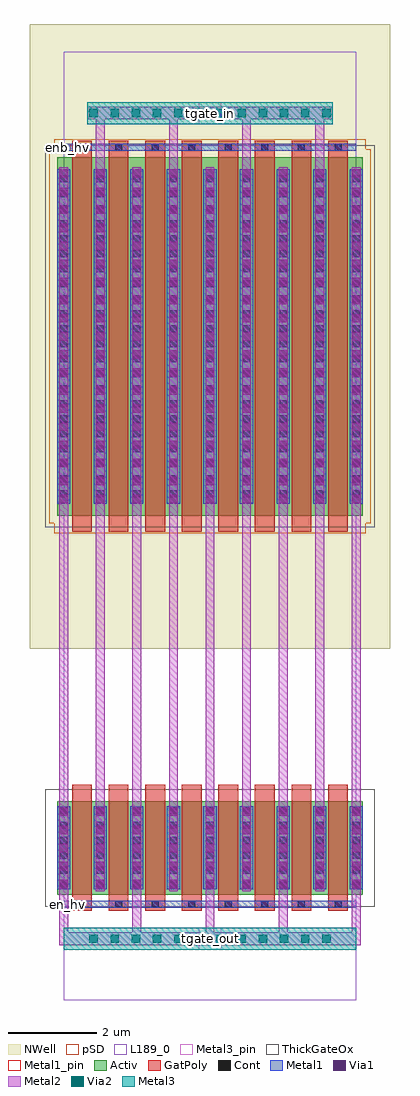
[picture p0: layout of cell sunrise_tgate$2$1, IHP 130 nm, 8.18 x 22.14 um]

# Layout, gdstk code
from math import pi, radians
import gdstk
lib = gdstk.Library(unit=1e-6, precision=1e-09)
def R(c, l, rs):  # rectangles x0, y0, x1, y1
    for r in rs: c.add(gdstk.rectangle(r[:2], r[2:], *l))
def A(c, l, x, y, w, h, nx, ny, dx, dy):  # array of equal rectangles
    R(c, l, [(x+i*dx, y+j*dy, x+i*dx+w, y+j*dy+h) for i in range(nx) for j in range(ny)])
Activ = (1, 0)
GatPoly = (5, 0)
Cont = (6, 0)
Metal1 = (8, 0)
Metal1_pin = (8, 2)
Metal2 = (10, 0)
pSD = (14, 0)
Via1 = (19, 0)
Via2 = (29, 0)
Metal3 = (30, 0)
Metal3_pin = (30, 2)
NWell = (31, 0)
ThickGateOx = (44, 0)
L189_0 = (189, 0)

sg13_hv_pmos_26gvx2_1_2_ = lib.new_cell('sg13_hv_pmos_26GVX2$1$2$1')
R(sg13_hv_pmos_26gvx2_1_2_, Activ, [(-3.47,-4.16,3.47,3.97)])
A(sg13_hv_pmos_26gvx2_1_2_, GatPoly, -3.13, -4.34, 0.45, 8.68, 8, 1, 0.83, 0)
A(sg13_hv_pmos_26gvx2_1_2_, Cont, -3.4, -3.745, 0.16, 0.16, 9, 22, 0.83, 0.34)
A(sg13_hv_pmos_26gvx2_1_2_, Cont, -2.985, 4.11, 0.16, 0.16, 8, 1, 0.83, 0)
A(sg13_hv_pmos_26gvx2_1_2_, Metal1, -3.47, -3.89, 0.3, 7.59, 9, 1, 0.83, 0)
R(sg13_hv_pmos_26gvx2_1_2_, Metal1, [(-3.32,4.11,3.32,4.27)])
A(sg13_hv_pmos_26gvx2_1_2_, Metal2, -3.42, -3.93, 0.2, 7.67, 9, 1, 0.83, 0)
R(sg13_hv_pmos_26gvx2_1_2_, pSD, [(-3.53,-4.56,3.53,-4.34), (-3.65,-4.34,3.65,4.15), (-3.53,4.15,3.53,4.37)])
A(sg13_hv_pmos_26gvx2_1_2_, Via1, -3.415, -3.88, 0.19, 0.19, 9, 19, 0.83, 0.41)
R(sg13_hv_pmos_26gvx2_1_2_, NWell, [(-4.09,-4.78,4.09,4.59)])
R(sg13_hv_pmos_26gvx2_1_2_, ThickGateOx, [(-3.74,-4.43,3.74,4.24)])
sg13_hv_pmos_26gvx2_1_2_.add(gdstk.Label('S7', (2.49,-0.095), layer=8, texttype=25))
sg13_hv_pmos_26gvx2_1_2_.add(gdstk.Label('D6', (1.66,-0.095), layer=8, texttype=25))
sg13_hv_pmos_26gvx2_1_2_.add(gdstk.Label('S5', (0.83,-0.095), layer=8, texttype=25))
sg13_hv_pmos_26gvx2_1_2_.add(gdstk.Label('D4', (0,-0.095), layer=8, texttype=25))
sg13_hv_pmos_26gvx2_1_2_.add(gdstk.Label('S3', (-0.83,-0.095), layer=8, texttype=25))
sg13_hv_pmos_26gvx2_1_2_.add(gdstk.Label('D2', (-1.66,-0.095), layer=8, texttype=25))
sg13_hv_pmos_26gvx2_1_2_.add(gdstk.Label('S1', (-2.49,-0.095), layer=8, texttype=25))
sg13_hv_pmos_26gvx2_1_2_.add(gdstk.Label('G', (-2.905,4.19), layer=8, texttype=25))
sg13_hv_pmos_26gvx2_1_2_.add(gdstk.Label('G', (-2.075,4.19), layer=8, texttype=25))
sg13_hv_pmos_26gvx2_1_2_.add(gdstk.Label('G', (-1.245,4.19), layer=8, texttype=25))
sg13_hv_pmos_26gvx2_1_2_.add(gdstk.Label('G', (-0.415,4.19), layer=8, texttype=25))
sg13_hv_pmos_26gvx2_1_2_.add(gdstk.Label('G', (0.415,4.19), layer=8, texttype=25))
sg13_hv_pmos_26gvx2_1_2_.add(gdstk.Label('G', (1.245,4.19), layer=8, texttype=25))
sg13_hv_pmos_26gvx2_1_2_.add(gdstk.Label('G', (2.075,4.19), layer=8, texttype=25))
sg13_hv_pmos_26gvx2_1_2_.add(gdstk.Label('G', (2.905,4.19), layer=8, texttype=25))
sg13_hv_pmos_26gvx2_1_2_.add(gdstk.Label('D0', (-3.32,-0.095), layer=8, texttype=25))

sg13_hv_nmos_ddl5y6_2_1 = lib.new_cell('sg13_hv_nmos_DDL5Y6$2$1')
R(sg13_hv_nmos_ddl5y6_2_1, Activ, [(-3.47,-0.965,3.47,1.155)])
A(sg13_hv_nmos_ddl5y6_2_1, GatPoly, -3.13, -1.335, 0.45, 2.67, 8, 1, 0.83, 0)
A(sg13_hv_nmos_ddl5y6_2_1, Cont, -2.985, -1.265, 0.16, 0.16, 8, 1, 0.83, 0)
A(sg13_hv_nmos_ddl5y6_2_1, Cont, -3.4, -0.835, 0.16, 0.16, 9, 6, 0.83, 0.34)
A(sg13_hv_nmos_ddl5y6_2_1, Metal1, -3.47, -0.845, 0.3, 1.88, 9, 1, 0.83, 0)
R(sg13_hv_nmos_ddl5y6_2_1, Metal1, [(-3.32,-1.265,3.32,-1.105)])
A(sg13_hv_nmos_ddl5y6_2_1, Metal2, -3.42, -0.885, 0.2, 1.96, 9, 1, 0.83, 0)
A(sg13_hv_nmos_ddl5y6_2_1, Via1, -3.415, -0.82, 0.19, 0.19, 9, 5, 0.83, 0.41)
R(sg13_hv_nmos_ddl5y6_2_1, ThickGateOx, [(-3.74,-1.235,3.74,1.425)])
sg13_hv_nmos_ddl5y6_2_1.add(gdstk.Label('S7', (2.49,0.095), layer=8, texttype=25))
sg13_hv_nmos_ddl5y6_2_1.add(gdstk.Label('D6', (1.66,0.095), layer=8, texttype=25))
sg13_hv_nmos_ddl5y6_2_1.add(gdstk.Label('S5', (0.83,0.095), layer=8, texttype=25))
sg13_hv_nmos_ddl5y6_2_1.add(gdstk.Label('D4', (0,0.095), layer=8, texttype=25))
sg13_hv_nmos_ddl5y6_2_1.add(gdstk.Label('S3', (-0.83,0.095), layer=8, texttype=25))
sg13_hv_nmos_ddl5y6_2_1.add(gdstk.Label('D2', (-1.66,0.095), layer=8, texttype=25))
sg13_hv_nmos_ddl5y6_2_1.add(gdstk.Label('S1', (-2.49,0.095), layer=8, texttype=25))
sg13_hv_nmos_ddl5y6_2_1.add(gdstk.Label('G', (-2.905,-1.185), layer=8, texttype=25))
sg13_hv_nmos_ddl5y6_2_1.add(gdstk.Label('G', (-2.075,-1.185), layer=8, texttype=25))
sg13_hv_nmos_ddl5y6_2_1.add(gdstk.Label('G', (-1.245,-1.185), layer=8, texttype=25))
sg13_hv_nmos_ddl5y6_2_1.add(gdstk.Label('G', (-0.415,-1.185), layer=8, texttype=25))
sg13_hv_nmos_ddl5y6_2_1.add(gdstk.Label('G', (0.415,-1.185), layer=8, texttype=25))
sg13_hv_nmos_ddl5y6_2_1.add(gdstk.Label('G', (1.245,-1.185), layer=8, texttype=25))
sg13_hv_nmos_ddl5y6_2_1.add(gdstk.Label('G', (2.075,-1.185), layer=8, texttype=25))
sg13_hv_nmos_ddl5y6_2_1.add(gdstk.Label('G', (2.905,-1.185), layer=8, texttype=25))
sg13_hv_nmos_ddl5y6_2_1.add(gdstk.Label('D0', (-3.32,0.095), layer=8, texttype=25))

via_stack_7_1 = lib.new_cell('via_stack$7$1')
R(via_stack_7_1, Metal2, [(-0.145,-2.785,0.145,2.785)])
A(via_stack_7_1, Via2, -0.095, -2.735, 0.19, 0.19, 1, 12, 0, 0.48)
R(via_stack_7_1, Metal3, [(-0.145,-2.785,0.145,2.785)])

sunrise_tgate_2_1 = lib.new_cell('sunrise_tgate$2$1')
A(sunrise_tgate_2_1, GatPoly, 0.96, 4.69, 0.45, 0.19, 8, 2, 0.83, 5.93)
R(sunrise_tgate_2_1, Metal1_pin, [(0.77,2.09,0.93,2.25), (0.77,19.26,0.93,19.42)])
R(sunrise_tgate_2_1, Metal3_pin, [(3.84,1.14,4.34,1.64), (3.84,19.87,4.34,20.37)])
R(sunrise_tgate_2_1, NWell, [(0,7.97,8.18,22.14)])
R(sunrise_tgate_2_1, L189_0, [(0.77,0,7.41,21.51)])
sunrise_tgate_2_1.add(gdstk.FlexPath([(6.875,1.39),(7.51,1.39)], 0.29, ends="flush", simple_path=True, layer=10, datatype=0))  # Metal2
sunrise_tgate_2_1.add(gdstk.FlexPath([(1.305,1.39),(0.67,1.39)], 0.29, ends="flush", simple_path=True, layer=10, datatype=0))  # Metal2
sunrise_tgate_2_1.add(gdstk.FlexPath([(5.75,18.89),(5.75,1.39)], 0.2, ends="flush", simple_path=True, layer=10, datatype=0))  # Metal2
sunrise_tgate_2_1.add(gdstk.FlexPath([(7.41,18.89),(7.41,1.39)], 0.2, ends="flush", simple_path=True, layer=10, datatype=0))  # Metal2
sunrise_tgate_2_1.add(gdstk.FlexPath([(6.58,20.12),(6.58,2.47)], 0.2, ends="flush", simple_path=True, layer=10, datatype=0))  # Metal2
sunrise_tgate_2_1.add(gdstk.FlexPath([(4.92,20.12),(4.92,2.47)], 0.2, ends="flush", simple_path=True, layer=10, datatype=0))  # Metal2
sunrise_tgate_2_1.add(gdstk.FlexPath([(4.09,18.89),(4.09,1.39)], 0.2, ends="flush", simple_path=True, layer=10, datatype=0))  # Metal2
sunrise_tgate_2_1.add(gdstk.FlexPath([(3.26,20.12),(3.26,2.47)], 0.2, ends="flush", simple_path=True, layer=10, datatype=0))  # Metal2
sunrise_tgate_2_1.add(gdstk.FlexPath([(2.43,18.89),(2.43,1.39)], 0.2, ends="flush", simple_path=True, layer=10, datatype=0))  # Metal2
sunrise_tgate_2_1.add(gdstk.FlexPath([(1.6,20.12),(1.6,2.47)], 0.2, ends="flush", simple_path=True, layer=10, datatype=0))  # Metal2
sunrise_tgate_2_1.add(gdstk.FlexPath([(0.77,18.89),(0.77,1.39)], 0.2, ends="flush", simple_path=True, layer=10, datatype=0))  # Metal2
sunrise_tgate_2_1.add(gdstk.FlexPath([(0.77,1.39),(7.41,1.39)], 0.5, ends="flush", simple_path=True, layer=30, datatype=0))  # Metal3
sunrise_tgate_2_1.add(gdstk.FlexPath([(1.305,20.12),(6.875,20.12)], 0.5, ends="flush", simple_path=True, layer=30, datatype=0))  # Metal3
sunrise_tgate_2_1.add(gdstk.Reference(sg13_hv_pmos_26gvx2_1_2_, (4.09,15.15)))
sunrise_tgate_2_1.add(gdstk.Reference(sg13_hv_nmos_ddl5y6_2_1, (4.09,3.355)))
sunrise_tgate_2_1.add(gdstk.Reference(via_stack_7_1, (4.09,1.39), rotation=pi/2))
sunrise_tgate_2_1.add(gdstk.Reference(via_stack_7_1, (4.09,20.12), rotation=pi/2))
sunrise_tgate_2_1.add(gdstk.Label('enb_hv', (0.85,19.34), layer=8, texttype=25))
sunrise_tgate_2_1.add(gdstk.Label('en_hv', (0.85,2.17), layer=8, texttype=25))
sunrise_tgate_2_1.add(gdstk.Label('tgate_out', (4.09,1.39), layer=30, texttype=25))
sunrise_tgate_2_1.add(gdstk.Label('tgate_in', (4.09,20.12), layer=30, texttype=25))

lib.write_gds('sunrise_tgate_2_1.gds')
